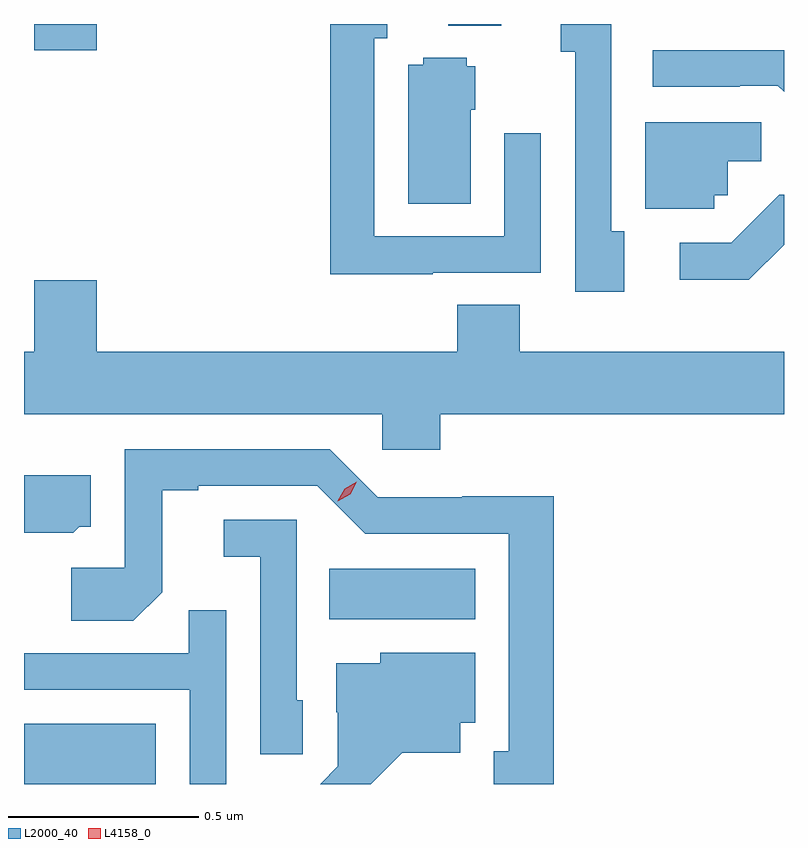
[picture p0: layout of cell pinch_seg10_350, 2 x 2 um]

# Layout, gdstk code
import gdstk
lib = gdstk.Library(unit=1e-6, precision=1e-09)
def R(c, l, rs):  # rectangles x0, y0, x1, y1
    for r in rs: c.add(gdstk.rectangle(r[:2], r[2:], *l))
def P(c, l, *ps):  # polygons
    for p in ps: c.add(gdstk.Polygon(p, *l))
L2000_40 = (2000, 40)
L4158_0 = (4158, 0)

pinch_seg10_350 = lib.new_cell('pinch_seg10_350')
R(pinch_seg10_350, L2000_40, [(488.657,1287.355,489.004,1287.514), (489.46,1287.788,489.844,1287.922), (488.684,1289.286,488.848,1289.355), (489.773,1289.351,489.913,1289.355)])
P(pinch_seg10_350, L2000_40, [(490.237,1288.81),(490.203,1288.81),(490.203,1289.355),(490.07,1289.355),(490.07,1289.282),(490.107,1289.282),(490.107,1288.65),(490.237,1288.65)],
  [(489.733,1288.701),(490.017,1288.701),(490.017,1289.068),(489.921,1289.068),(489.921,1288.797),(489.579,1288.797),(489.579,1289.318),(489.613,1289.318),(489.613,1289.355),(489.463,1289.355),(489.463,1288.697),(489.733,1288.697)],
  [(490.657,1289.286),(490.311,1289.286),(490.311,1289.19),(490.541,1289.19),(490.541,1289.193),(490.641,1289.193),(490.657,1289.177)],
  [(489.832,1289.13),(489.844,1289.13),(489.844,1289.244),(489.822,1289.244),(489.822,1289.266),(489.708,1289.266),(489.708,1289.248),(489.668,1289.248),(489.668,1288.882),(489.832,1288.882)],
  [(490.473,1288.905),(490.509,1288.905),(490.509,1288.994),(490.597,1288.994),(490.597,1289.097),(490.292,1289.097),(490.292,1288.869),(490.473,1288.869)],
  [(490.657,1288.774),(490.657,1288.906),(490.645,1288.906),(490.518,1288.779),(490.383,1288.779),(490.383,1288.682),(490.564,1288.682)],
  [(489.752,1288.328),(490.657,1288.328),(490.657,1288.492),(489.962,1288.492),(489.962,1288.616),(489.797,1288.616),(489.797,1288.492),(488.848,1288.492),(488.848,1288.681),(488.684,1288.681),(488.684,1288.492),(488.657,1288.492),(488.657,1288.328),(489.6,1288.328),(489.6,1288.235),(489.752,1288.235)],
  [(490.051,1288.112),(489.81,1288.112),(489.81,1288.11),(489.588,1288.11),(489.462,1288.236),(488.922,1288.236),(488.922,1287.924),(488.781,1287.924),(488.781,1287.784),(488.945,1287.784),(489.021,1287.86),(489.021,1288.128),(489.115,1288.128),(489.115,1288.14),(489.429,1288.14),(489.555,1288.014),(489.932,1288.014),(489.932,1287.441),(489.893,1287.441),(489.893,1287.355),(490.051,1287.355)],
  [(488.802,1288.032),(488.833,1288.032),(488.833,1288.168),(488.657,1288.168),(488.657,1288.016),(488.786,1288.016)],
  [(489.39,1287.576),(489.375,1287.576),(489.375,1288.05),(489.183,1288.05),(489.183,1287.953),(489.279,1287.953),(489.279,1287.433),(489.39,1287.433)],
  [(489.189,1287.812),(489.091,1287.812),(489.091,1287.699),(488.657,1287.699),(488.657,1287.603),(489.093,1287.603),(489.093,1287.355),(489.189,1287.355)],
  [(489.653,1287.437),(489.805,1287.437),(489.805,1287.516),(489.844,1287.516),(489.844,1287.7),(489.594,1287.7),(489.594,1287.673),(489.479,1287.673),(489.479,1287.544),(489.483,1287.544),(489.483,1287.402),(489.436,1287.355),(489.57,1287.355)])
P(pinch_seg10_350, L4158_0, [(489.483,1288.099),(489.483,1288.1),(489.501,1288.132),(489.532,1288.151),(489.533,1288.151),(489.533,1288.15),(489.515,1288.118),(489.483,1288.099)])

lib.write_gds('pinch_seg10_350.gds')
